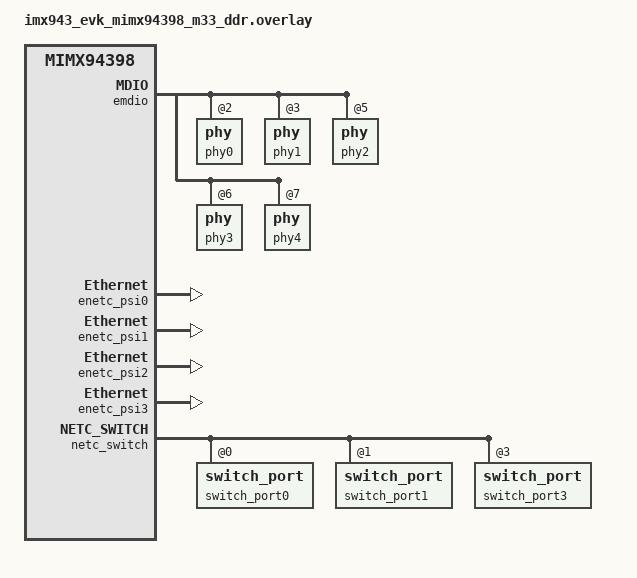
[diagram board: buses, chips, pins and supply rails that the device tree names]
/*
 * Copyright 2025 NXP
 *
 * SPDX-License-Identifier: Apache-2.0
 */

&emdio {
	status = "okay";

	phy0: phy@2 {
		status = "okay";
	};

	phy1: phy@3 {
		status = "okay";
	};

	phy2: phy@5 {
		status = "okay";
	};

	phy3: phy@6 {
		status = "okay";
	};

	phy4: phy@7 {
		status = "okay";
	};
};

&enetc_psi0 {
	ptp-clock = <&netc_ptp_clock0>;
	status = "okay";
};

&enetc_psi1 {
	ptp-clock = <&netc_ptp_clock0>;
	status = "okay";
};

&enetc_psi2 {
	ptp-clock = <&netc_ptp_clock0>;
	status = "okay";
};

/* Internal port */
&enetc_psi3 {
	status = "okay";
};

&netc_switch {
	status = "okay";

	switch_port0: switch_port@0 {
		ptp-clock = <&netc_ptp_clock0>;
		status = "okay";
	};

	switch_port1: switch_port@1 {
		ptp-clock = <&netc_ptp_clock0>;
		status = "okay";
	};

	/* Internal port */
	switch_port3: switch_port@3 {
		status = "okay";
	};
};

&netc_ptp_clock0 {
	status = "okay";
};
